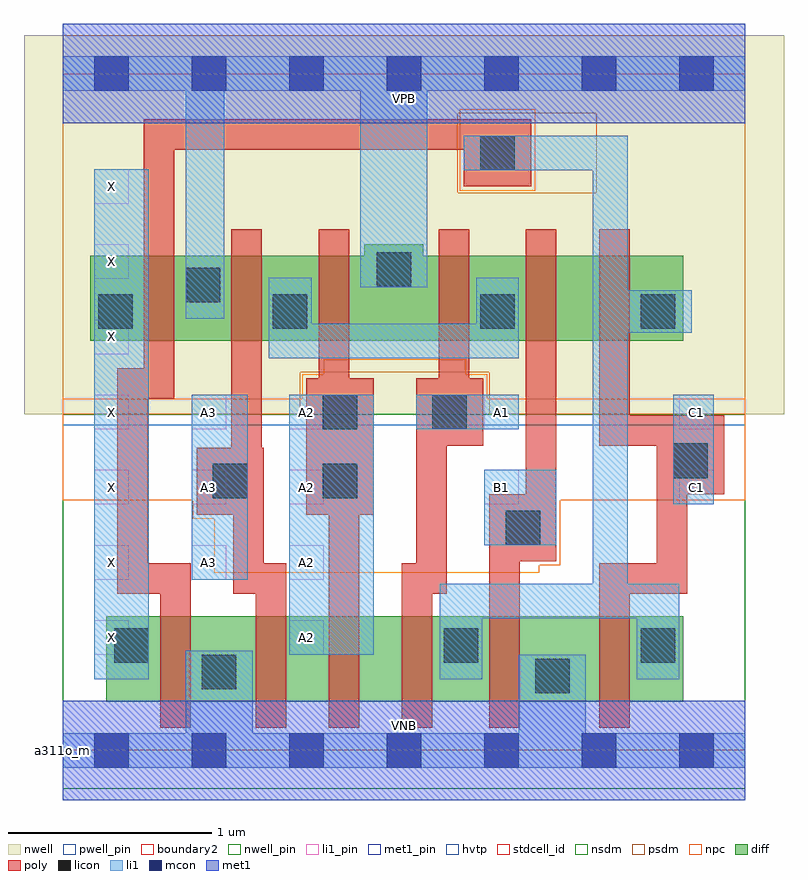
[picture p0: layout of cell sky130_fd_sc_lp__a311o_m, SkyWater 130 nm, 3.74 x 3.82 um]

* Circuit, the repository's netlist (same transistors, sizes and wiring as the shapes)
* Copyright 2020 The SkyWater PDK Authors
*
* Licensed under the Apache License, Version 2.0 (the "License");
* you may not use this file except in compliance with the License.
* You may obtain a copy of the License at
*
*     https://www.apache.org/licenses/LICENSE-2.0
*
* Unless required by applicable law or agreed to in writing, software
* distributed under the License is distributed on an "AS IS" BASIS,
* WITHOUT WARRANTIES OR CONDITIONS OF ANY KIND, either express or implied.
* See the License for the specific language governing permissions and
* limitations under the License.
*
* SPDX-License-Identifier: Apache-2.0

.SUBCKT sky130_fd_sc_lp__a311o_m A1 A2 A3 B1 C1 VGND VNB VPB VPWR X
*.PININFO A1:I A2:I A3:I B1:I C1:I VGND:I VNB:I VPB:I VPWR:I X:O
MMPA0 pndA A1 VPWR VPB sky130_fd_pr__pfet_01v8_hvt m=1 w=0.42U l=0.15U mult=1 sa=0.265
+ sb=0.265 sd=0.28 area=0.063 perim=1.14
MMPA1 pndA A2 VPWR VPB sky130_fd_pr__pfet_01v8_hvt m=1 w=0.42U l=0.15U mult=1 sa=0.265
+ sb=0.265 sd=0.28 area=0.063 perim=1.14
MMPA2 pndA A3 VPWR VPB sky130_fd_pr__pfet_01v8_hvt m=1 w=0.42U l=0.15U mult=1 sa=0.265
+ sb=0.265 sd=0.28 area=0.063 perim=1.14
MMPB0 pndB B1 pndA VPB sky130_fd_pr__pfet_01v8_hvt m=1 w=0.42U l=0.15U mult=1 sa=0.265
+ sb=0.265 sd=0.28 area=0.063 perim=1.14
MMPC0 y C1 pndB VPB sky130_fd_pr__pfet_01v8_hvt m=1 w=0.42U l=0.15U mult=1 sa=0.265
+ sb=0.265 sd=0.28 area=0.063 perim=1.14
MMIPX X y VPWR VPB sky130_fd_pr__pfet_01v8_hvt m=1 w=0.42U l=0.15U mult=1 sa=0.265
+ sb=0.265 sd=0.28 area=0.063 perim=1.14
MMNA0 y A1 sndA1 VNB sky130_fd_pr__nfet_01v8 m=1 w=0.42U l=0.15U mult=1 sa=0.265
+ sb=0.265 sd=0.28 area=0.063 perim=1.14
MMNA1 sndA1 A2 sndA2 VNB sky130_fd_pr__nfet_01v8 m=1 w=0.42U l=0.15U mult=1 sa=0.265
+ sb=0.265 sd=0.28 area=0.063 perim=1.14
MMNA2 sndA2 A3 VGND VNB sky130_fd_pr__nfet_01v8 m=1 w=0.42U l=0.15U mult=1 sa=0.265
+ sb=0.265 sd=0.28 area=0.063 perim=1.14
MMNB0 y B1 VGND VNB sky130_fd_pr__nfet_01v8 m=1 w=0.42U l=0.15U mult=1 sa=0.265
+ sb=0.265 sd=0.28 area=0.063 perim=1.14
MMNC0 y C1 VGND VNB sky130_fd_pr__nfet_01v8 m=1 w=0.42U l=0.15U mult=1 sa=0.265
+ sb=0.265 sd=0.28 area=0.063 perim=1.14
MMINX X y VGND VNB sky130_fd_pr__nfet_01v8 m=1 w=0.42U l=0.15U mult=1 sa=0.265
+ sb=0.265 sd=0.28 area=0.063 perim=1.14
.ENDS sky130_fd_sc_lp__a311o_m

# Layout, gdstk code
import gdstk
lib = gdstk.Library(unit=1e-6, precision=1e-09)
def R(c, l, rs):  # rectangles x0, y0, x1, y1
    for r in rs: c.add(gdstk.rectangle(r[:2], r[2:], *l))
def A(c, l, x, y, w, h, nx, ny, dx, dy):  # array of equal rectangles
    R(c, l, [(x+i*dx, y+j*dy, x+i*dx+w, y+j*dy+h) for i in range(nx) for j in range(ny)])
def P(c, l, *ps):  # polygons
    for p in ps: c.add(gdstk.Polygon(p, *l))
nwell_pin = (64, 16)
nwell = (64, 20)
diff = (65, 20)
poly = (66, 20)
licon = (66, 44)
li1_pin = (67, 16)
li1 = (67, 20)
mcon = (67, 44)
met1_pin = (68, 16)
met1 = (68, 20)
hvtp = (78, 44)
stdcell_id = (81, 4)
nsdm = (93, 44)
psdm = (94, 20)
npc = (95, 20)
pwell_pin = (122, 16)
boundary2 = (236, 0)

sky130_fd_sc_lp__a311o_m = lib.new_cell('sky130_fd_sc_lp__a311o_m')
R(sky130_fd_sc_lp__a311o_m, nwell_pin, [(0,3.085,3.36,3.33)])
R(sky130_fd_sc_lp__a311o_m, nwell, [(-0.19,1.655,3.55,3.52)])
R(sky130_fd_sc_lp__a311o_m, diff, [(0.215,0.24,3.055,0.66)])
P(sky130_fd_sc_lp__a311o_m, diff, [(3.055,2.435),(1.775,2.435),(1.775,2.49),(1.485,2.49),(1.485,2.435),(0.135,2.435),(0.135,2.015),(3.055,2.015)])
P(sky130_fd_sc_lp__a311o_m, poly, [(1.1,0.92),(0.99,0.92),(0.99,1.49),(0.98,1.49),(0.98,2.565),(0.83,2.565),(0.83,1.49),(0.66,1.49),(0.66,1.16),(0.84,1.16),(0.84,0.77),(0.95,0.77),(0.95,0.11),(1.1,0.11)],
  [(1.53,1.83),(1.41,1.83),(1.41,2.565),(1.26,2.565),(1.26,1.83),(1.2,1.83),(1.2,1.16),(1.31,1.16),(1.31,0.11),(1.46,0.11),(1.46,1.16),(1.53,1.16)],
  [(2.07,1.83),(2,1.83),(2,2.565),(1.85,2.565),(1.85,1.83),(1.74,1.83),(1.74,0.92),(1.67,0.92),(1.67,0.11),(1.82,0.11),(1.82,0.77),(1.89,0.77),(1.89,1.5),(2.07,1.5)],
  [(2.305,3.105),(0.4,3.105),(0.4,1.88),(0.27,1.88),(0.27,0.77),(0.48,0.77),(0.48,0.11),(0.63,0.11),(0.63,0.92),(0.42,0.92),(0.42,1.73),(0.55,1.73),(0.55,2.955),(1.975,2.955),(1.975,2.775),(2.305,2.775)],
  [(2.43,2.565),(2.28,2.565),(2.28,1.26),(2.1,1.26),(2.1,0.11),(2.25,0.11),(2.25,0.93),(2.43,0.93)],
  [(3.255,1.65),(2.79,1.65),(2.79,2.565),(2.64,2.565),(2.64,1.5),(2.925,1.5),(2.925,0.92),(2.64,0.92),(2.64,0.11),(2.79,0.11),(2.79,0.77),(3.075,0.77),(3.075,1.26),(3.255,1.26)])
R(sky130_fd_sc_lp__a311o_m, licon, [(2.325,0.28,2.495,0.45), (0.685,0.3,0.855,0.47), (0.255,0.43,0.425,0.6), (1.875,0.43,2.045,0.6), (2.845,0.43,3.015,0.6), (2.18,1.01,2.35,1.18), (0.74,1.24,0.91,1.41), (1.28,1.24,1.45,1.41), (3.005,1.34,3.175,1.51), (1.28,1.58,1.45,1.75), (1.82,1.58,1.99,1.75), (0.175,2.075,0.345,2.245), (1.035,2.075,1.205,2.245), (2.055,2.075,2.225,2.245), (2.845,2.075,3.015,2.245), (0.605,2.205,0.775,2.375), (1.545,2.28,1.715,2.45), (2.055,2.855,2.225,3.025)])
A(sky130_fd_sc_lp__a311o_m, li1_pin, 0.155, 0.84, 0.17, 0.17, 3, 3, 0.48, 0.37)
A(sky130_fd_sc_lp__a311o_m, li1_pin, 0.155, 1.95, 0.17, 0.17, 1, 3, 0, 0.37)
R(sky130_fd_sc_lp__a311o_m, li1_pin, [(0.155,0.47,0.325,0.64), (1.115,0.47,1.285,0.64), (2.075,1.21,2.245,1.38), (3.035,1.21,3.205,1.38), (2.075,1.58,2.245,1.75), (3.035,1.58,3.205,1.75)])
R(sky130_fd_sc_lp__a311o_m, li1, [(0.155,0.35,0.425,2.86), (1.115,0.47,1.53,1.75), (0.635,0.84,0.91,1.75), (2.075,1.01,2.43,1.38), (3.005,1.21,3.205,1.75), (1.74,1.58,2.245,1.75)])
P(sky130_fd_sc_lp__a311o_m, li1, [(1.465,2.28),(1.465,3.245),(0.795,3.245),(0.795,2.125),(0.605,2.125),(0.605,3.245),(0,3.245),(0,3.415),(3.36,3.415),(3.36,3.245),(1.795,3.245),(1.795,2.28)],
  [(2.245,0.085),(2.245,0.47),(2.575,0.47),(2.575,0.085),(3.36,0.085),(3.36,-0.085),(0,-0.085),(0,0.085),(0.605,0.085),(0.605,0.49),(0.935,0.49),(0.935,0.085)],
  [(2.61,0.82),(2.61,2.855),(1.975,2.855),(1.975,3.025),(2.78,3.025),(2.78,2.265),(3.095,2.265),(3.095,2.055),(2.78,2.055),(2.78,0.82),(3.035,0.82),(3.035,0.35),(2.825,0.35),(2.825,0.65),(2.065,0.65),(2.065,0.35),(1.855,0.35),(1.855,0.82)],
  [(2.035,2.1),(2.035,2.325),(2.245,2.325),(2.245,1.93),(1.015,1.93),(1.015,2.325),(1.225,2.325),(1.225,2.1)])
A(sky130_fd_sc_lp__a311o_m, mcon, 0.155, -0.085, 0.17, 0.17, 7, 2, 0.48, 3.33)
R(sky130_fd_sc_lp__a311o_m, met1_pin, [(0,0,3.36,0.245), (0,3.085,3.36,3.33)])
R(sky130_fd_sc_lp__a311o_m, met1, [(0,-0.245,3.36,0.245), (0,3.085,3.36,3.575)])
R(sky130_fd_sc_lp__a311o_m, hvtp, [(0,1.6,3.36,3.33)])
R(sky130_fd_sc_lp__a311o_m, stdcell_id, [(0,0,3.36,3.33)])
R(sky130_fd_sc_lp__a311o_m, nsdm, [(0,-0.19,3.36,1.655)])
P(sky130_fd_sc_lp__a311o_m, psdm, [(3.36,3.52),(2.625,3.52),(2.625,2.745),(1.945,2.745),(1.945,3.135),(2.625,3.135),(2.625,3.52),(0,3.52),(0,1.655),(1.17,1.655),(1.17,1.86),(2.1,1.86),(2.1,1.655),(3.36,1.655)])
R(sky130_fd_sc_lp__a311o_m, npc, [(1.955,2.755,2.325,3.155)])
P(sky130_fd_sc_lp__a311o_m, npc, [(3.36,1.73),(2.09,1.73),(2.09,1.85),(1.985,1.85),(1.985,1.925),(1.285,1.925),(1.285,1.85),(1.18,1.85),(1.18,1.73),(0,1.73),(0,1.23),(0.64,1.23),(0.64,1.14),(0.745,1.14),(0.745,0.875),(2.345,0.875),(2.345,0.91),(2.45,0.91),(2.45,1.23),(3.36,1.23)])
R(sky130_fd_sc_lp__a311o_m, pwell_pin, [(0,0,3.36,0.245)])
R(sky130_fd_sc_lp__a311o_m, boundary2, [(0,0,3.36,3.33)])
sky130_fd_sc_lp__a311o_m.add(gdstk.Label('VNB', (1.68,0.123), layer=64, texttype=59))
sky130_fd_sc_lp__a311o_m.add(gdstk.Label('VPB', (1.68,3.208), layer=64, texttype=5))
sky130_fd_sc_lp__a311o_m.add(gdstk.Label('a311o_m', (0,0), layer=83, texttype=44))
sky130_fd_sc_lp__a311o_m.add(gdstk.Label('VPWR', (1.68,3.208), layer=68, texttype=5))
sky130_fd_sc_lp__a311o_m.add(gdstk.Label('VGND', (1.68,0.123), layer=68, texttype=5))
sky130_fd_sc_lp__a311o_m.add(gdstk.Label('A1', (2.16,1.665), layer=67, texttype=5))
sky130_fd_sc_lp__a311o_m.add(gdstk.Label('A2', (1.2,0.555), layer=67, texttype=5))
sky130_fd_sc_lp__a311o_m.add(gdstk.Label('A2', (1.2,0.925), layer=67, texttype=5))
sky130_fd_sc_lp__a311o_m.add(gdstk.Label('A2', (1.2,1.295), layer=67, texttype=5))
sky130_fd_sc_lp__a311o_m.add(gdstk.Label('A2', (1.2,1.665), layer=67, texttype=5))
sky130_fd_sc_lp__a311o_m.add(gdstk.Label('A3', (0.72,0.925), layer=67, texttype=5))
sky130_fd_sc_lp__a311o_m.add(gdstk.Label('A3', (0.72,1.295), layer=67, texttype=5))
sky130_fd_sc_lp__a311o_m.add(gdstk.Label('A3', (0.72,1.665), layer=67, texttype=5))
sky130_fd_sc_lp__a311o_m.add(gdstk.Label('B1', (2.16,1.295), layer=67, texttype=5))
sky130_fd_sc_lp__a311o_m.add(gdstk.Label('C1', (3.12,1.295), layer=67, texttype=5))
sky130_fd_sc_lp__a311o_m.add(gdstk.Label('C1', (3.12,1.665), layer=67, texttype=5))
sky130_fd_sc_lp__a311o_m.add(gdstk.Label('X', (0.24,0.555), layer=67, texttype=5))
sky130_fd_sc_lp__a311o_m.add(gdstk.Label('X', (0.24,0.925), layer=67, texttype=5))
sky130_fd_sc_lp__a311o_m.add(gdstk.Label('X', (0.24,1.295), layer=67, texttype=5))
sky130_fd_sc_lp__a311o_m.add(gdstk.Label('X', (0.24,1.665), layer=67, texttype=5))
sky130_fd_sc_lp__a311o_m.add(gdstk.Label('X', (0.24,2.035), layer=67, texttype=5))
sky130_fd_sc_lp__a311o_m.add(gdstk.Label('X', (0.24,2.405), layer=67, texttype=5))
sky130_fd_sc_lp__a311o_m.add(gdstk.Label('X', (0.24,2.775), layer=67, texttype=5))

lib.write_gds('sky130_fd_sc_lp__a311o_m.gds')
